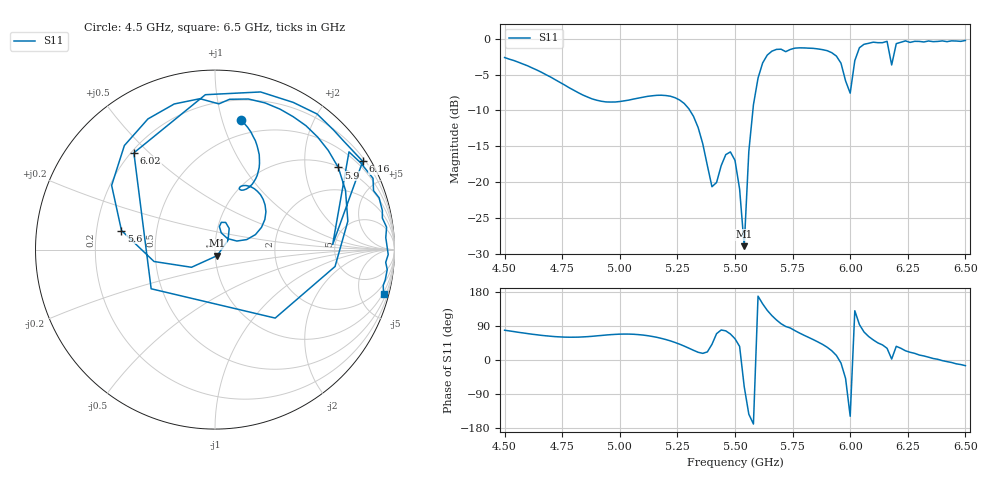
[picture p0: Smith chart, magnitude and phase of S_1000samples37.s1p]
! TOUCHSTONE file generated by CST MICROWAVE STUDIO
! Date and time: Wed Oct 26 18:51:06 2022
! Project name: L.cst
! Parameters = {Di=1.27; Epsilon_r=1.56; InnerDiameter=1.27; Length=2; Lf=10; Lg=60; OuterConductorThickness=0.2921; OuterDiameter=3.6; Wf=3; Wp=41.2; de=1.5; df=6.8; g=0.8; gx=1.69761; gy=4.2354; h=2.34; hf=1.524; px=14.6748; py=9.35696; w=9.7; wx=12.9772; wy=5.12157}
! Header version: 2018
! Port assignment regex: !\s*Touchstone port\s*([0-9]+)\s*=\s*(CST MWS port|CST DS port)\s*([0-9]+|Zmin|Zmax)\s*\(\"(.*)\"\)(\s*mode\s*([0-9]+))?.*
! Touchstone port assignment:
! Touchstone port 1 = CST MWS port 1 ("")
# GHz S DB R 50
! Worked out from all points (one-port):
!   101 points, 4.5 GHz to 6.5 GHz, reference 50 ohm
!   lowest |S11| = -28.9 dB at 5.54 GHz (marker M1), VSWR 1.07, Z = 51.1 - j3.45 ohm
!   |S11| at or under -10 dB: 5.304 GHz to 5.578 GHz (273.4 MHz wide, 5.02 % of centre)
!   S11 on the Smith chart (normalised r, x): 4.5 GHz: 0.36, +1.16; 5.6 GHz: 0.31, +0.09; 5.9 GHz: 1.04, +2.98; 6.02 GHz: 0.21, +0.45; 6.16 GHz: 0.30, +3.60; 6.5 GHz: 0.83, -7.56
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4.5  -2.62 78.6
4.76  -6.44 60.4
5  -8.76 68.3
5.26  -8.55 41.7
5.34  -12.38 20.3
5.4  -20.63 41.3
5.46  -16.15 76.9
5.5  -16.96 56.1
5.52  -20.96 35.8
5.54  -28.91 -70.3
5.56  -15.71 -143.1
5.6  -5.49 168.5
5.62  -3.38 148.2
5.66  -1.74 117.2
5.76  -1.32 77.5
5.9  -1.67 33.7
5.96  -3.41 -8.0
5.98  -5.88 -48.7
6  -7.59 -148.5
6.02  -3.06 130.0
6.04  -1.26 93.6
6.06  -0.78 73.9
6.1  -0.48 53.0
6.16  -0.37 30.9
6.18  -3.66 2.5
6.2  -0.69 36.1
6.26  -0.52 20.4
6.5  -0.24 -14.9
